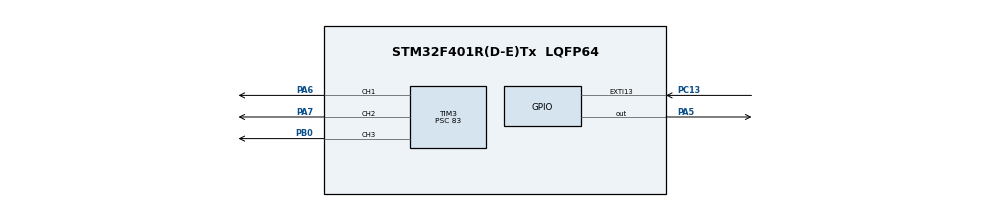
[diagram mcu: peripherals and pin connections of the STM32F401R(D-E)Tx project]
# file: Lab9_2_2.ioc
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Mcu.Family=STM32F4
Mcu.Name=STM32F401R(D-E)Tx
Mcu.Package=LQFP64
NVIC.EXTI15_10_IRQn=true\:0\:0\:false\:false\:true\:true\:true\:true
NVIC.PriorityGroup=NVIC_PRIORITYGROUP_4
NVIC.TIM3_IRQn=true\:0\:0\:false\:false\:true\:true\:true\:true
PA5.Signal=GPIO_Output
PA6.Signal=S_TIM3_CH1
PA7.Signal=S_TIM3_CH2
PB0.Signal=S_TIM3_CH3
PC13-ANTI_TAMP.Signal=GPXTI13
ProjectManager.HeapSize=0x200
ProjectManager.StackSize=0x400
ProjectManager.TargetToolchain=STM32CubeIDE
RCC.48MHZClocksFreq_Value=84000000
RCC.AHBFreq_Value=84000000
RCC.APB1CLKDivider=RCC_HCLK_DIV2
RCC.APB1Freq_Value=42000000
RCC.APB1TimFreq_Value=84000000
RCC.APB2Freq_Value=84000000
RCC.APB2TimFreq_Value=84000000
RCC.CortexFreq_Value=84000000
RCC.HCLKFreq_Value=84000000
RCC.HSE_VALUE=25000000
RCC.HSI_VALUE=16000000
RCC.LSE_VALUE=32768
RCC.PLLN=336
RCC.PLLP=RCC_PLLP_DIV4
RCC.SYSCLKFreq_VALUE=84000000
RCC.SYSCLKSource=RCC_SYSCLKSOURCE_PLLCLK
RCC.VCOOutputFreq_Value=336000000
SH.S_TIM3_CH1.0=TIM3_CH1,Output Compare1 CH1
SH.S_TIM3_CH2.0=TIM3_CH2,Output Compare2 CH2
SH.S_TIM3_CH3.0=TIM3_CH3,Output Compare3 CH3
TIM3.Channel-Output\ Compare1\ CH1=TIM_CHANNEL_1
TIM3.Channel-Output\ Compare2\ CH2=TIM_CHANNEL_2
TIM3.Channel-Output\ Compare3\ CH3=TIM_CHANNEL_3
TIM3.OCMode_1=TIM_OCMODE_TOGGLE
TIM3.OCMode_2=TIM_OCMODE_TOGGLE
TIM3.OCMode_3=TIM_OCMODE_TOGGLE
TIM3.Prescaler=83
VP_TIM3_VS_ClockSourceINT.Mode=Internal
board=custom

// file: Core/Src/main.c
/* USER CODE BEGIN Header */
/**
  ******************************************************************************
  * @file           : main.c
  * @brief          : Main program body
  ******************************************************************************
  * @attention
  *
  * Copyright (c) 2026 STMicroelectronics.
  * All rights reserved.
  *
  * This software is licensed under terms that can be found in the LICENSE file
  * in the root directory of this software component.
  * If no LICENSE file comes with this software, it is provided AS-IS.
  *
  ******************************************************************************
  */
/* USER CODE END Header */
#include "main.h"

/* USER CODE BEGIN PD */
#define TIM3_CH1_STEP_US      500U
#define TIM3_CH2_STEP_US     1000U
#define TIM3_CH3_STEP_US     2000U

/* USER CODE END PD */

/* USER CODE BEGIN PV */
const uint16_t tim3_ch1_step = TIM3_CH1_STEP_US;
const uint16_t tim3_ch2_step = TIM3_CH2_STEP_US;
const uint16_t tim3_ch3_step = TIM3_CH3_STEP_US;

/* USER CODE END PV */

void SystemClock_Config(void);
static void MX_GPIO_Init(void);
static void MX_TIM3_Init(void);

int main(void)
{

  /* MCU Configuration--------------------------------------------------------*/

  /* Reset of all peripherals, Initializes the Flash interface and the Systick. */
  LL_APB2_GRP1_EnableClock(LL_APB2_GRP1_PERIPH_SYSCFG);
  LL_APB1_GRP1_EnableClock(LL_APB1_GRP1_PERIPH_PWR);

  /* System interrupt init*/
  NVIC_SetPriorityGrouping(NVIC_PRIORITYGROUP_4);

  /* SysTick_IRQn interrupt configuration */
  NVIC_SetPriority(SysTick_IRQn, NVIC_EncodePriority(NVIC_GetPriorityGrouping(),15, 0));

  /* Configure the system clock */
  SystemClock_Config();

  /* Initialize all configured peripherals */
  MX_GPIO_Init();
  MX_TIM3_Init();
  /* USER CODE BEGIN 2 */

  SysTick_Config(SystemCoreClock / 1000);

  uint16_t cnt = LL_TIM_GetCounter(TIM3);

  LL_TIM_OC_SetCompareCH1(TIM3, cnt + tim3_ch1_step);
  LL_TIM_OC_SetCompareCH2(TIM3, cnt + tim3_ch2_step);
  LL_TIM_OC_SetCompareCH3(TIM3, cnt + tim3_ch3_step);

  LL_TIM_ClearFlag_CC1(TIM3);
  LL_TIM_ClearFlag_CC2(TIM3);
  LL_TIM_ClearFlag_CC3(TIM3);

  LL_TIM_EnableIT_CC1(TIM3);
  LL_TIM_EnableIT_CC2(TIM3);
  LL_TIM_EnableIT_CC3(TIM3);

  LL_TIM_EnableCounter(TIM3);

  /* USER CODE END 2 */

  /* Infinite loop */
  while (1)
  {

  }
}

void SystemClock_Config(void)
{
  LL_FLASH_SetLatency(LL_FLASH_LATENCY_2);
  while(LL_FLASH_GetLatency()!= LL_FLASH_LATENCY_2)
  {
  }
  LL_PWR_SetRegulVoltageScaling(LL_PWR_REGU_VOLTAGE_SCALE2);
  LL_RCC_HSI_SetCalibTrimming(16);
  LL_RCC_HSI_Enable();

   /* Wait till HSI is ready */
  while(LL_RCC_HSI_IsReady() != 1)
  {

  }
  LL_RCC_PLL_ConfigDomain_SYS(LL_RCC_PLLSOURCE_HSI, LL_RCC_PLLM_DIV_16, 336, LL_RCC_PLLP_DIV_4);
  LL_RCC_PLL_Enable();

   /* Wait till PLL is ready */
  while(LL_RCC_PLL_IsReady() != 1)
  {

  }
  while (LL_PWR_IsActiveFlag_VOS() == 0)
  {
  }
  LL_RCC_SetAHBPrescaler(LL_RCC_SYSCLK_DIV_1);
  LL_RCC_SetAPB1Prescaler(LL_RCC_APB1_DIV_2);
  LL_RCC_SetAPB2Prescaler(LL_RCC_APB2_DIV_1);
  LL_RCC_SetSysClkSource(LL_RCC_SYS_CLKSOURCE_PLL);

   /* Wait till System clock is ready */
  while(LL_RCC_GetSysClkSource() != LL_RCC_SYS_CLKSOURCE_STATUS_PLL)
  {

  }
  LL_Init1msTick(84000000);
  LL_SetSystemCoreClock(84000000);
  LL_RCC_SetTIMPrescaler(LL_RCC_TIM_PRESCALER_TWICE);
}

static void MX_TIM3_Init(void)
{

  LL_TIM_InitTypeDef TIM_InitStruct = {0};
  LL_TIM_OC_InitTypeDef TIM_OC_InitStruct = {0};

  LL_GPIO_InitTypeDef GPIO_InitStruct = {0};

  /* Peripheral clock enable */
  LL_APB1_GRP1_EnableClock(LL_APB1_GRP1_PERIPH_TIM3);

  /* TIM3 interrupt Init */
  NVIC_SetPriority(TIM3_IRQn, NVIC_EncodePriority(NVIC_GetPriorityGrouping(),0, 0));
  NVIC_EnableIRQ(TIM3_IRQn);

  TIM_InitStruct.Prescaler = 83;
  TIM_InitStruct.CounterMode = LL_TIM_COUNTERMODE_UP;
  TIM_InitStruct.Autoreload = 65535;
  TIM_InitStruct.ClockDivision = LL_TIM_CLOCKDIVISION_DIV1;
  LL_TIM_Init(TIM3, &TIM_InitStruct);
  LL_TIM_DisableARRPreload(TIM3);
  LL_TIM_SetClockSource(TIM3, LL_TIM_CLOCKSOURCE_INTERNAL);
  TIM_OC_InitStruct.OCMode = LL_TIM_OCMODE_TOGGLE;
  TIM_OC_InitStruct.OCState = LL_TIM_OCSTATE_ENABLE;
  TIM_OC_InitStruct.OCNState = LL_TIM_OCSTATE_DISABLE;
  TIM_OC_InitStruct.CompareValue = 0;
  TIM_OC_InitStruct.OCPolarity = LL_TIM_OCPOLARITY_HIGH;
  LL_TIM_OC_Init(TIM3, LL_TIM_CHANNEL_CH1, &TIM_OC_InitStruct);
  LL_TIM_OC_DisableFast(TIM3, LL_TIM_CHANNEL_CH1);
  LL_TIM_OC_Init(TIM3, LL_TIM_CHANNEL_CH2, &TIM_OC_InitStruct);
  LL_TIM_OC_DisableFast(TIM3, LL_TIM_CHANNEL_CH2);
  LL_TIM_OC_Init(TIM3, LL_TIM_CHANNEL_CH3, &TIM_OC_InitStruct);
  LL_TIM_OC_DisableFast(TIM3, LL_TIM_CHANNEL_CH3);
  LL_TIM_SetTriggerOutput(TIM3, LL_TIM_TRGO_RESET);
  LL_TIM_DisableMasterSlaveMode(TIM3);
  LL_AHB1_GRP1_EnableClock(LL_AHB1_GRP1_PERIPH_GPIOA);
  LL_AHB1_GRP1_EnableClock(LL_AHB1_GRP1_PERIPH_GPIOB);
  /**TIM3 GPIO Configuration
  PA6   ------> TIM3_CH1
  PA7   ------> TIM3_CH2
  PB0   ------> TIM3_CH3
  */
  GPIO_InitStruct.Pin = LL_GPIO_PIN_6|LL_GPIO_PIN_7;
  GPIO_InitStruct.Mode = LL_GPIO_MODE_ALTERNATE;
  GPIO_InitStruct.Speed = LL_GPIO_SPEED_FREQ_LOW;
  GPIO_InitStruct.OutputType = LL_GPIO_OUTPUT_PUSHPULL;
  GPIO_InitStruct.Pull = LL_GPIO_PULL_NO;
  GPIO_InitStruct.Alternate = LL_GPIO_AF_2;
  LL_GPIO_Init(GPIOA, &GPIO_InitStruct);

  GPIO_InitStruct.Pin = LL_GPIO_PIN_0;
  GPIO_InitStruct.Mode = LL_GPIO_MODE_ALTERNATE;
  GPIO_InitStruct.Speed = LL_GPIO_SPEED_FREQ_LOW;
  GPIO_InitStruct.OutputType = LL_GPIO_OUTPUT_PUSHPULL;
  GPIO_InitStruct.Pull = LL_GPIO_PULL_NO;
  GPIO_InitStruct.Alternate = LL_GPIO_AF_2;
  LL_GPIO_Init(GPIOB, &GPIO_InitStruct);

}

static void MX_GPIO_Init(void)
{
  LL_EXTI_InitTypeDef EXTI_InitStruct = {0};
  LL_GPIO_InitTypeDef GPIO_InitStruct = {0};

  /* GPIO Ports Clock Enable */
  LL_AHB1_GRP1_EnableClock(LL_AHB1_GRP1_PERIPH_GPIOC);
  LL_AHB1_GRP1_EnableClock(LL_AHB1_GRP1_PERIPH_GPIOA);
  LL_AHB1_GRP1_EnableClock(LL_AHB1_GRP1_PERIPH_GPIOB);

  /**/
  LL_GPIO_ResetOutputPin(GPIOA, LL_GPIO_PIN_5);

  /**/
  LL_SYSCFG_SetEXTISource(LL_SYSCFG_EXTI_PORTC, LL_SYSCFG_EXTI_LINE13);

  /**/
  EXTI_InitStruct.Line_0_31 = LL_EXTI_LINE_13;
  EXTI_InitStruct.LineCommand = ENABLE;
  EXTI_InitStruct.Mode = LL_EXTI_MODE_IT;
  EXTI_InitStruct.Trigger = LL_EXTI_TRIGGER_RISING;
  LL_EXTI_Init(&EXTI_InitStruct);

  /**/
  LL_GPIO_SetPinPull(GPIOC, LL_GPIO_PIN_13, LL_GPIO_PULL_NO);

  /**/
  LL_GPIO_SetPinMode(GPIOC, LL_GPIO_PIN_13, LL_GPIO_MODE_INPUT);

  /**/
  GPIO_InitStruct.Pin = LL_GPIO_PIN_5;
  GPIO_InitStruct.Mode = LL_GPIO_MODE_OUTPUT;
  GPIO_InitStruct.Speed = LL_GPIO_SPEED_FREQ_LOW;
  GPIO_InitStruct.OutputType = LL_GPIO_OUTPUT_PUSHPULL;
  GPIO_InitStruct.Pull = LL_GPIO_PULL_NO;
  LL_GPIO_Init(GPIOA, &GPIO_InitStruct);

  /* EXTI interrupt init*/
  NVIC_SetPriority(EXTI15_10_IRQn, NVIC_EncodePriority(NVIC_GetPriorityGrouping(),0, 0));
  NVIC_EnableIRQ(EXTI15_10_IRQn);

}

void Error_Handler(void)
{
  __disable_irq();
  while (1)
  {
  }
}
